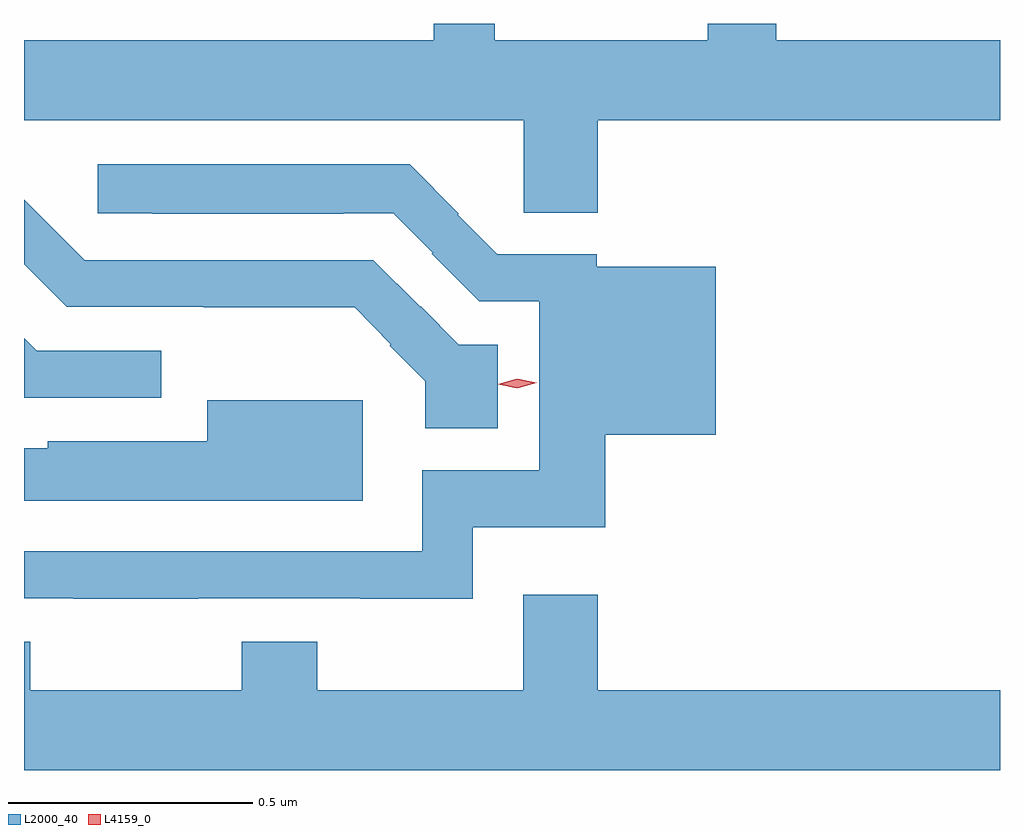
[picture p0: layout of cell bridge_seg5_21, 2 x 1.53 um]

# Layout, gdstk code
import gdstk
lib = gdstk.Library(unit=1e-6, precision=1e-09)
def P(c, l, *ps):  # polygons
    for p in ps: c.add(gdstk.Polygon(p, *l))
L2000_40 = (2000, 40)
L4159_0 = (4159, 0)

bridge_seg5_21 = lib.new_cell('bridge_seg5_21')
P(bridge_seg5_21, L2000_40, [(1022.846,846.104),(1023.67,846.104),(1023.67,846.268),(1023.211,846.268),(1023.211,846.301),(1023.071,846.301),(1023.071,846.268),(1022.635,846.268),(1022.635,846.301),(1022.51,846.301),(1022.51,846.268),(1021.67,846.268),(1021.67,846.104),(1022.694,846.104),(1022.694,845.914),(1022.846,845.914)],
  [(1022.027,845.124),(1022.359,845.124),(1022.359,845.123),(1022.59,845.123),(1022.59,845.27),(1022.861,845.27),(1022.861,845.459),(1023.088,845.459),(1023.088,845.803),(1022.844,845.803),(1022.844,845.829),(1022.64,845.829),(1022.559,845.91),(1022.561,845.912),(1022.46,846.013),(1021.821,846.013),(1021.821,845.913),(1021.933,845.913),(1021.933,845.912),(1022.324,845.912),(1022.324,845.913),(1022.427,845.913),(1022.508,845.832),(1022.506,845.83),(1022.603,845.733),(1022.726,845.733),(1022.726,845.386),(1022.486,845.386),(1022.486,845.22),(1021.67,845.22),(1021.67,845.124),(1021.771,845.124),(1021.771,845.123),(1022.027,845.123)],
  [(1022.641,845.644),(1022.561,845.644),(1022.483,845.722),(1022.482,845.721),(1022.386,845.817),(1021.794,845.817),(1021.67,845.941),(1021.67,845.809),(1021.758,845.721),(1022.038,845.721),(1022.038,845.72),(1022.348,845.72),(1022.422,845.645),(1022.419,845.642),(1022.492,845.569),(1022.492,845.472),(1022.641,845.472)],
  [(1021.951,845.631),(1021.696,845.631),(1021.67,845.657),(1021.67,845.535),(1021.951,845.535)],
  [(1022.364,845.53),(1022.045,845.53),(1022.045,845.446),(1021.719,845.446),(1021.719,845.431),(1021.67,845.431),(1021.67,845.324),(1022.364,845.324)],
  [(1023.67,844.936),(1022.846,844.936),(1022.846,845.131),(1022.693,845.131),(1022.693,844.936),(1022.271,844.936),(1022.271,845.035),(1022.116,845.035),(1022.116,844.936),(1021.683,844.936),(1021.683,845.035),(1021.67,845.035),(1021.67,844.772),(1023.67,844.772)])
P(bridge_seg5_21, L4159_0, [(1022.681,845.554),(1022.641,845.563),(1022.641,845.563),(1022.641,845.563),(1022.681,845.574),(1022.721,845.566),(1022.721,845.566),(1022.721,845.566)])

lib.write_gds('bridge_seg5_21.gds')
